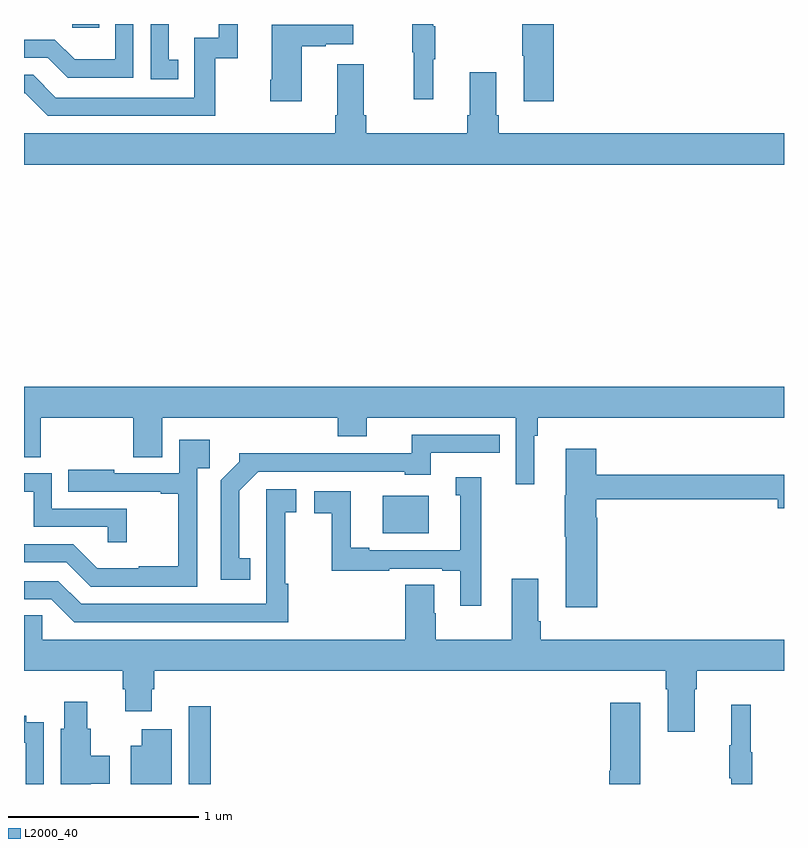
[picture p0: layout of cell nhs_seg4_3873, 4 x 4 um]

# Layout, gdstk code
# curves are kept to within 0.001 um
import gdstk
lib = gdstk.Library(unit=1e-6, precision=1e-09)
def R(c, l, rs):  # rectangles x0, y0, x1, y1
    for r in rs: c.add(gdstk.rectangle(r[:2], r[2:], *l))
def P(c, l, *ps):  # polygons
    for p in ps: c.add(gdstk.Polygon(p, *l))
L2000_40 = (2000, 40)

nhs_seg4_3873 = lib.new_cell('nhs_seg4_3873')
R(nhs_seg4_3873, L2000_40, [(315.867,786.9,315.983,787.309), (316.889,788.219,317.131,788.416), (315.255,790.881,315.395,790.9)])
P(nhs_seg4_3873, L2000_40, [(315.812,790.713),(315.763,790.713),(315.763,790.9),(315.666,790.9),(315.666,790.608),(315.812,790.608)],
  [(317.153,790.715),(317.164,790.715),(317.164,790.889),(317.153,790.889),(317.153,790.9),(317.043,790.9),(317.043,790.752),(317.05,790.752),(317.05,790.503),(317.153,790.503)],
  [(316.006,790.719),(316.124,790.719),(316.124,790.9),(316.026,790.9),(316.026,790.827),(315.897,790.827),(315.897,790.512),(315.168,790.512),(315.048,790.632),(315,790.632),(315,790.536),(315.006,790.536),(315.126,790.416),(316.006,790.416)],
  [(315.576,790.9),(315.48,790.9),(315.48,790.714),(315.266,790.714),(315.162,790.818),(315,790.818),(315,790.722),(315.125,790.722),(315.23,790.617),(315.576,790.617)],
  [(317.789,790.9),(317.623,790.9),(317.623,790.732),(317.63,790.732),(317.63,790.494),(317.789,790.494)],
  [(316.462,790.783),(316.589,790.783),(316.589,790.793),(316.732,790.793),(316.732,790.897),(316.304,790.897),(316.304,790.606),(316.297,790.606),(316.297,790.494),(316.462,790.494)],
  [(319,790.324),(317.498,790.324),(317.498,790.42),(317.485,790.42),(317.485,790.645),(317.345,790.645),(317.345,790.42),(317.333,790.42),(317.333,790.324),(316.802,790.324),(316.802,790.42),(316.789,790.42),(316.789,790.687),(316.649,790.687),(316.649,790.42),(316.637,790.42),(316.637,790.324),(315,790.324),(315,790.16),(319,790.16)],
  [(317.686,788.732),(317.705,788.732),(317.705,788.828),(319,788.828),(319,788.992),(315,788.992),(315,788.62),(315.089,788.62),(315.089,788.828),(315.575,788.828),(315.575,788.62),(315.727,788.62),(315.727,788.828),(316.652,788.828),(316.652,788.729),(316.804,788.729),(316.804,788.828),(317.589,788.828),(317.589,788.478),(317.686,788.478)],
  [(316.19,788.087),(316.132,788.087),(316.132,788.443),(316.233,788.544),(317.004,788.544),(317.004,788.528),(317.14,788.528),(317.14,788.643),(317.504,788.643),(317.504,788.739),(317.041,788.739),(317.041,788.64),(316.568,788.64),(316.568,788.642),(316.134,788.642),(316.134,788.597),(316.035,788.498),(316.035,787.974),(316.19,787.974)],
  [(315.912,788.561),(315.977,788.561),(315.977,788.713),(315.816,788.713),(315.816,788.535),(315.475,788.535),(315.475,788.554),(315.232,788.554),(315.232,788.439),(315.719,788.439),(315.719,788.427),(315.811,788.427),(315.811,788.047),(315.605,788.047),(315.605,788.035),(315.386,788.035),(315.258,788.163),(315,788.163),(315,788.067),(315.222,788.067),(315.351,787.938),(315.912,787.938)],
  [(318.016,788.301),(318.011,788.301),(318.011,788.398),(318.968,788.398),(318.968,788.351),(319,788.351),(319,788.527),(318.011,788.527),(318.011,788.665),(317.852,788.665),(317.852,788.421),(317.845,788.421),(317.845,788.201),(317.852,788.201),(317.852,787.83),(318.016,787.83)],
  [(315.542,788.349),(315.147,788.349),(315.147,788.535),(315,788.535),(315,788.439),(315.051,788.439),(315.051,788.253),(315.441,788.253),(315.441,788.172),(315.542,788.172)],
  [(317.407,788.515),(317.273,788.515),(317.273,788.421),(317.297,788.421),(317.297,788.13),(316.816,788.13),(316.816,788.143),(316.72,788.143),(316.72,788.442),(316.527,788.442),(316.527,788.326),(316.621,788.326),(316.621,788.022),(316.922,788.022),(316.922,788.034),(317.201,788.034),(317.201,788.022),(317.297,788.022),(317.297,787.839),(317.407,787.839)],
  [(316.391,787.955),(316.374,787.955),(316.374,788.331),(316.432,788.331),(316.432,788.452),(316.274,788.452),(316.275,787.848),(315.3,787.848),(315.18,787.968),(315,787.968),(315,787.872),(315.144,787.872),(315.264,787.752),(316.391,787.752)],
  [(318.377,787.4),(318.389,787.4),(318.389,787.176),(318.529,787.176),(318.529,787.4),(318.542,787.4),(318.542,787.496),(319,787.496),(319,787.66),(317.72,787.66),(317.72,787.756),(317.707,787.756),(317.707,787.981),(317.567,787.981),(317.567,787.66),(317.166,787.66),(317.166,787.799),(317.158,787.799),(317.158,787.949),(317.006,787.949),(317.006,787.66),(315.096,787.66),(315.096,787.787),(315,787.787),(315,787.496),(315.521,787.496),(315.521,787.398),(315.533,787.398),(315.533,787.284),(315.673,787.284),(315.673,787.398),(315.686,787.398),(315.686,787.496),(318.377,787.496)],
  [(315.352,786.902),(315.451,786.902),(315.451,787.05),(315.352,787.05),(315.352,787.191),(315.334,787.191),(315.334,787.333),(315.212,787.333),(315.212,787.191),(315.194,787.191),(315.194,786.9),(315.352,786.9)],
  [(318.244,787.327),(318.086,787.327),(318.086,786.969),(318.08,786.969),(318.08,786.9),(318.244,786.9)],
  [(318.832,787.068),(318.824,787.068),(318.824,787.318),(318.722,787.318),(318.722,787.105),(318.711,787.105),(318.711,786.931),(318.722,786.931),(318.722,786.9),(318.832,786.9)],
  [(315.105,787.225),(315.013,787.225),(315.013,787.258),(315,787.258),(315,787.118),(315.009,787.118),(315.009,786.9),(315.105,786.9)],
  [(315.778,787.189),(315.62,787.189),(315.62,787.102),(315.563,787.102),(315.563,786.9),(315.778,786.9)])

lib.write_gds('nhs_seg4_3873.gds')
